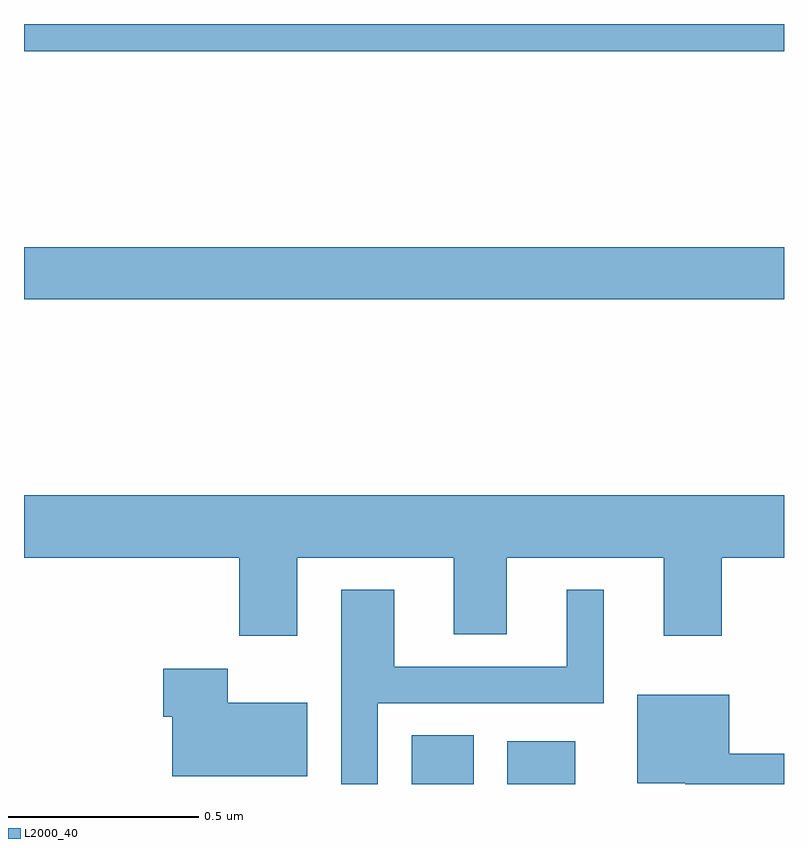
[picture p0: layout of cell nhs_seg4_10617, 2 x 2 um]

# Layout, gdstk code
import gdstk
lib = gdstk.Library(unit=1e-6, precision=1e-09)
def R(c, l, rs):  # rectangles x0, y0, x1, y1
    for r in rs: c.add(gdstk.rectangle(r[:2], r[2:], *l))
def P(c, l, *ps):  # polygons
    for p in ps: c.add(gdstk.Polygon(p, *l))
L2000_40 = (2000, 40)

nhs_seg4_10617 = lib.new_cell('nhs_seg4_10617')
R(nhs_seg4_10617, L2000_40, [(243.02,786.9,243.184,787.028), (243.272,786.9,243.451,787.012), (242,788.176,244,788.312), (242,788.828,244,788.9)])
P(nhs_seg4_10617, L2000_40, [(242.719,787.496),(243.131,787.496),(243.131,787.294),(243.271,787.294),(243.271,787.496),(243.683,787.496),(243.683,787.29),(243.836,787.29),(243.836,787.496),(244,787.496),(244,787.66),(242,787.66),(242,787.496),(242.567,787.496),(242.567,787.29),(242.719,787.29)],
  [(242.931,787.113),(243.526,787.113),(243.526,787.411),(243.428,787.411),(243.428,787.209),(242.974,787.209),(242.974,787.411),(242.835,787.411),(242.835,786.9),(242.931,786.9)],
  [(242.746,787.114),(242.536,787.114),(242.536,787.203),(242.366,787.203),(242.366,787.077),(242.39,787.077),(242.39,786.92),(242.746,786.92)],
  [(244,786.98),(243.856,786.98),(243.856,787.135),(243.614,787.135),(243.614,786.902),(243.74,786.902),(243.74,786.9),(244,786.9)])

lib.write_gds('nhs_seg4_10617.gds')
